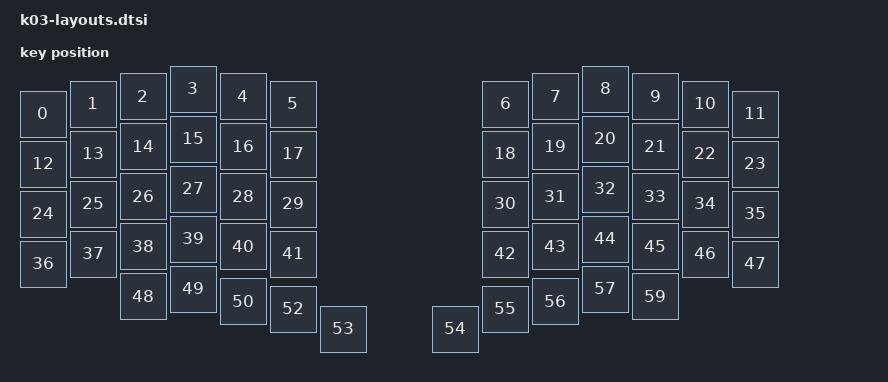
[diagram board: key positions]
// See https://zmk.dev/docs/development/hardware-integration/physical-layouts
// for how to configure this.

#include <physical_layouts.dtsi>




// k03_v2-layouts.dtsi

#include <physical_layouts.dtsi>

/ {
    k03_physical_layout: k03_physical_layout {
        compatible = "zmk,physical-layout";
        display-name = "K:03 Default Layout";
        transform = <&default_transform>;
        kscan = <&kscan0>;
        keys =
            // Row 0
            <&key_physical_attrs 100 100    0   50   0 0 0>    // [0,5] Esc
            <&key_physical_attrs 100 100  100   30   0 0 0>    // [0,4] 1
            <&key_physical_attrs 100 100  200   15   0 0 0>    // [0,3] 2
            <&key_physical_attrs 100 100  300    0   0 0 0>    // [0,2] 3
            <&key_physical_attrs 100 100  400   15   0 0 0>    // [0,1] 4
            <&key_physical_attrs 100 100  500   30   0 0 0>    // [0,0] 5

            <&key_physical_attrs 100 100  925   30   0 0 0>    // [5,0] 6
            <&key_physical_attrs 100 100 1025   15   0 0 0>    // [5,1] 7
            <&key_physical_attrs 100 100 1125    0   0 0 0>    // [5,2] 8
            <&key_physical_attrs 100 100 1225   15   0 0 0>    // [5,3] 9
            <&key_physical_attrs 100 100 1325   30   0 0 0>    // [5,4] 0
            <&key_physical_attrs 100 100 1425   50   0 0 0>    // [5,5] -

            // Row 1
            <&key_physical_attrs 100 100    0  150   0 0 0>    // [1,5] Tab
            <&key_physical_attrs 100 100  100  130   0 0 0>    // [1,4] Q
            <&key_physical_attrs 100 100  200  115   0 0 0>    // [1,3] W
            <&key_physical_attrs 100 100  300  100   0 0 0>    // [1,2] E
            <&key_physical_attrs 100 100  400  115   0 0 0>    // [1,1] R
            <&key_physical_attrs 100 100  500  130   0 0 0>    // [1,0] T

            <&key_physical_attrs 100 100  925  130   0 0 0>    // [6,0] Y
            <&key_physical_attrs 100 100 1025  115   0 0 0>    // [6,1] U
            <&key_physical_attrs 100 100 1125  100   0 0 0>    // [6,2] I
            <&key_physical_attrs 100 100 1225  115   0 0 0>    // [6,3] O
            <&key_physical_attrs 100 100 1325  130   0 0 0>    // [6,4] P
            <&key_physical_attrs 100 100 1425  150   0 0 0>    // [6,5] =

            // Row 2
            <&key_physical_attrs 100 100    0  250   0 0 0>    // [2,5] Shift
            <&key_physical_attrs 100 100  100  230   0 0 0>    // [2,4] A
            <&key_physical_attrs 100 100  200  215   0 0 0>    // [2,3] S
            <&key_physical_attrs 100 100  300  200   0 0 0>    // [2,2] D
            <&key_physical_attrs 100 100  400  215   0 0 0>    // [2,1] F
            <&key_physical_attrs 100 100  500  230   0 0 0>    // [2,0] G

            <&key_physical_attrs 100 100  925  230   0 0 0>    // [7,0] H
            <&key_physical_attrs 100 100 1025  215   0 0 0>    // [7,1] J
            <&key_physical_attrs 100 100 1125  200   0 0 0>    // [7,2] K
            <&key_physical_attrs 100 100 1225  215   0 0 0>    // [7,3] L
            <&key_physical_attrs 100 100 1325  230   0 0 0>    // [7,4] ;
            <&key_physical_attrs 100 100 1425  250   0 0 0>    // [7,5] '

            // Row 3
            <&key_physical_attrs 100 100    0  350   0 0 0>    // [3,5] Ctrl
            <&key_physical_attrs 100 100  100  330   0 0 0>    // [3,4] Z
            <&key_physical_attrs 100 100  200  315   0 0 0>    // [3,3] X
            <&key_physical_attrs 100 100  300  300   0 0 0>    // [3,2] C
            <&key_physical_attrs 100 100  400  315   0 0 0>    // [3,1] V
            <&key_physical_attrs 100 100  500  330   0 0 0>    // [3,0] B

            <&key_physical_attrs 100 100  925  330   0 0 0>    // [8,0] N
            <&key_physical_attrs 100 100 1025  315   0 0 0>    // [8,1] M
            <&key_physical_attrs 100 100 1125  300   0 0 0>    // [8,2] ,
            <&key_physical_attrs 100 100 1225  315   0 0 0>    // [8,3] .
            <&key_physical_attrs 100 100 1325  330   0 0 0>    // [8,4] /
            <&key_physical_attrs 100 100 1425  350   0 0 0>    // [8,5] \

            // Row 4
            <&key_physical_attrs 100 100  200  415   0 0 0>    // [4,5] Super
            <&key_physical_attrs 100 100  300  400   0 0 0>    // [4,4] Alt
            <&key_physical_attrs 100 100  400  425   0 0 0>    // [4,3] Ctrl
            <&key_physical_attrs 100 100  500  440   0 0 0>    // [4,2] Lower
            <&key_physical_attrs 100 100  500  440   0 0 0>    // [4,1] Space
            <&key_physical_attrs 100 100  600  480   0 0 0>    // [4,0] [

            <&key_physical_attrs 100 100  825  480   0 0 0>    // [9,0] ]
            <&key_physical_attrs 100 100  925  440   0 0 0>    // [9,1] Enter
            <&key_physical_attrs 100 100 1025  425   0 0 0>    // [9,2] Raise
            <&key_physical_attrs 100 100 1125  400   0 0 0>    // [9,3] Ctrl
            <&key_physical_attrs 100 100 1225  415   0 0 0>    // [9,4] Alt
            <&key_physical_attrs 100 100 1225  415   0 0 0>    // [9,5] Super
        ;
    };
};

